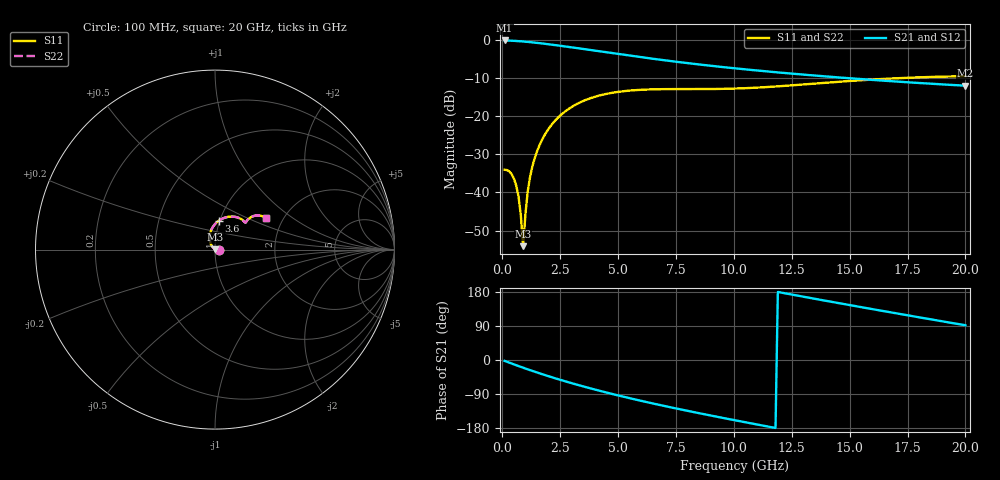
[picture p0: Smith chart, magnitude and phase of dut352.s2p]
! Touchstone file exported from HFSS 2024.1.0
!  File:  C:/UserFiles/LocalFiles/RDL_TSV_Batchsim/temp_RDL_TSV_352_1779638000.aedt
!  Generated:  12:09:28 AM May 25, 2026
!  Design:  RDL_TSV
!  Project:  temp_RDL_TSV_352_1779638000
!  Setup:  Setup1
!  Solution:  Sweep
! Variables:
!  dtsv = 11.24um
!  hbump = 3um
!  htsv = 97.44um
!  ldown = 458.32um
!  lrdl = 587.57um
!  p = 40
!  p1 = 45.85um
!  rhole = 10um
!  subl = 3725.24um
!  t = 450um
!  tdown = 2.42um
!  trdl = 4.57um
!  viad = 10um
!  wdown = 18.88um
!  wrdl = 20.53um
!  xbump = 18um
# GHz S MA R 50.000000
! Terminal data exported
! Port[1] = TM1_1_T1
! Port[2] = TM1_4_T1
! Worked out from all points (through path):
!   200 points, 100 MHz to 20 GHz, reference 50 ohm
!   highest |S21| = -0.18 dB at 100 MHz (marker M1); lowest = -12.0 dB at 20 GHz (marker M2)
!   group delay of S21, straight-line fit = 35.3 ps
!   lowest |S11| = -54.1 dB at 900 MHz (marker M3), VSWR 1.00, Z = 50.1 + j0.167 ohm
!   |S11| at or under -10 dB: start of sweep to 17.34 GHz
!   |S22| runs from -54.1 to -9.6 dB; largest |S21 - S12| = 1e-14
!   S11 on the Smith chart (normalised r, x): 100 MHz: 1.04, -0.00; 3.6 GHz: 0.99, +0.33; 20 GHz: 1.64, +0.64
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0.1  0.0198 -0.1  0.9795 -2.4  0.9795 -2.4  0.0198 -0.1
! Gamma 0 0 0 0
! Port Impedance 50 0 50 0
0.4  0.0174 -5.8  0.972 -9.3  0.972 -9.3  0.0174 -5.8
0.6  0.01234 -9.9  0.9645 -13.8  0.9645 -13.8  0.01234 -9.9
0.7  0.0089 -9.7  0.96 -16.0  0.96 -16.0  0.008903 -9.7
0.8  0.005039 -2.9  0.9551 -18.2  0.9551 -18.2  0.005044 -2.9
0.9  0.001973 57.5  0.9497 -20.4  0.9497 -20.4  0.001975 57.3
1  0.005233 125.3  0.944 -22.5  0.944 -22.5  0.005225 125.2
1.1  0.01038 133.2  0.9379 -24.7  0.9379 -24.7  0.01037 133.2
1.2  0.01599 133.9  0.9316 -26.8  0.9316 -26.8  0.01597 133.9
1.3  0.02192 132.7  0.9249 -28.9  0.9249 -28.9  0.0219 132.7
1.6  0.04104 126.2  0.9037 -35.0  0.9037 -35.0  0.04101 126.1
2  0.06811 116.2  0.8736 -42.9  0.8736 -42.9  0.06805 116.2
2.4  0.09501 106.6  0.8425 -50.4  0.8425 -50.4  0.09493 106.6
3.5  0.158 84.2  0.7573 -69.8  0.7573 -69.8  0.1579 84.1
3.6  0.1626 82.4  0.7498 -71.5  0.7498 -71.5  0.1625 82.4
5.2  0.2112 60.4  0.6389 -96.4  0.6389 -96.4  0.2109 60.3
6.8  0.2251 47.7  0.5487 -118.7  0.5487 -118.7  0.2246 47.7
8.3  0.2258 42.4  0.4823 -137.9  0.4823 -137.9  0.2253 42.4
10.1  0.2297 41.5  0.4209 -159.7  0.4209 -159.7  0.2291 41.6
13.4  0.2652 42.2  0.3415 162.6  0.3415 162.6  0.2647 42.3
16.7  0.3096 37.8  0.2877 126.5  0.2877 126.5  0.3091 38.0
20  0.3334 31.7  0.2503 91.6  0.2503 91.6  0.3328 31.8
